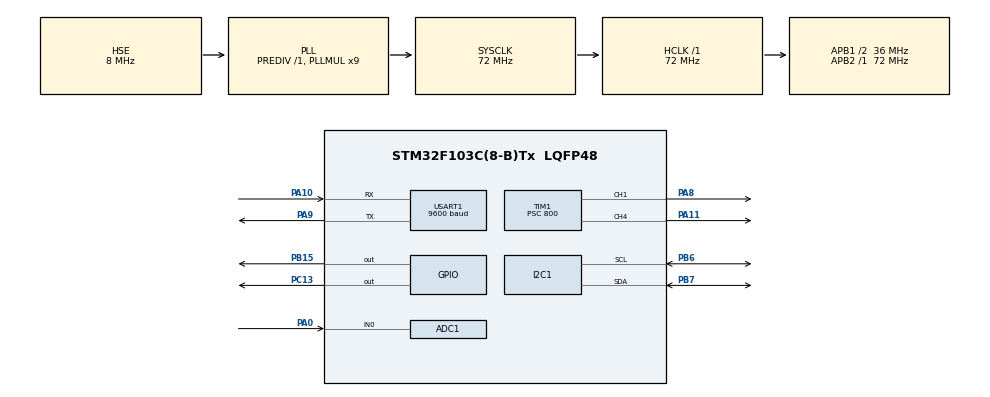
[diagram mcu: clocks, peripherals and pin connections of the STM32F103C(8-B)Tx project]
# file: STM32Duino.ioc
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ADC1.Channel-1\#ChannelRegularConversion=ADC_CHANNEL_0
ADC1.NbrOfConversionFlag=1
ADC1.Rank-1\#ChannelRegularConversion=1
ADC1.SamplingTime-1\#ChannelRegularConversion=ADC_SAMPLETIME_1CYCLE_5
ADC1.master=1
Mcu.Family=STM32F1
Mcu.Name=STM32F103C(8-B)Tx
Mcu.Package=LQFP48
NVIC.PriorityGroup=NVIC_PRIORITYGROUP_4
PA0-WKUP.Signal=ADCx_IN0
PA10.Mode=Asynchronous
PA10.Signal=USART1_RX
PA11.Signal=S_TIM1_CH4
PA8.Signal=S_TIM1_CH1
PA9.Mode=Asynchronous
PA9.Signal=USART1_TX
PB15.Signal=GPIO_Output
PB6.Mode=I2C
PB6.Signal=I2C1_SCL
PB7.Mode=I2C
PB7.Signal=I2C1_SDA
PC13-TAMPER-RTC.Signal=GPIO_Output
PD0-OSC_IN.Mode=HSE-External-Oscillator
PD0-OSC_IN.Signal=RCC_OSC_IN
PD1-OSC_OUT.Mode=HSE-External-Oscillator
PD1-OSC_OUT.Signal=RCC_OSC_OUT
ProjectManager.HeapSize=0x200
ProjectManager.StackSize=0x400
ProjectManager.TargetToolchain=STM32CubeIDE
RCC.ADCPresc=RCC_ADCPCLK2_DIV8
RCC.AHBFreq_Value=72000000
RCC.APB1CLKDivider=RCC_HCLK_DIV2
RCC.APB1Freq_Value=36000000
RCC.APB1TimFreq_Value=72000000
RCC.APB2Freq_Value=72000000
RCC.APB2TimFreq_Value=72000000
RCC.HCLKFreq_Value=72000000
RCC.PLLMUL=RCC_PLL_MUL9
RCC.PLLSourceVirtual=RCC_PLLSOURCE_HSE
RCC.SYSCLKFreq_VALUE=72000000
RCC.SYSCLKSource=RCC_SYSCLKSOURCE_PLLCLK
RCC.USBFreq_Value=72000000
SH.ADCx_IN0.0=ADC1_IN0,IN0
SH.S_TIM1_CH1.0=TIM1_CH1,PWM Generation1 CH1
SH.S_TIM1_CH4.0=TIM1_CH4,PWM Generation4 CH4
TIM1.AutoReloadPreload=TIM_AUTORELOAD_PRELOAD_ENABLE
TIM1.Channel-PWM\ Generation1\ CH1=TIM_CHANNEL_1
TIM1.Channel-PWM\ Generation4\ CH4=TIM_CHANNEL_4
TIM1.ClockDivision=TIM_CLOCKDIVISION_DIV4
TIM1.OCFastMode_PWM-PWM\ Generation1\ CH1=TIM_OCFAST_ENABLE
TIM1.Period=1000
TIM1.Prescaler=800
TIM1.Pulse-PWM\ Generation1\ CH1=500
USART1.BaudRate=9600
USART1.VirtualMode=VM_ASYNC
VP_SYS_VS_ND.Mode=No_Debug
VP_TIM1_VS_ClockSourceINT.Mode=Internal
board=custom

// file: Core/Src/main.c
/* USER CODE BEGIN Header */
/**
  ******************************************************************************
  * @file           : main.c
  * @brief          : Main program body
  ******************************************************************************
  * @attention
  *
  * <h2><center>&copy; Copyright (c) 2020 STMicroelectronics.
  * All rights reserved.</center></h2>
  *
  * This software component is licensed by ST under BSD 3-Clause license,
  * the "License"; You may not use this file except in compliance with the
  * License. You may obtain a copy of the License at:
  *                        opensource.org/licenses/BSD-3-Clause
  *
  ******************************************************************************

AppData\Local\Arduino15\packages\stm32duino\tools\stm32tools\2020.4.23\win>serial_upload.bat COM43 {upload.altID} {upload.usbID}\STM32CubeIDE\workspace_1.2.0\STM32Duino\Debug\STM32Duino.bin

AppData\Local\Arduino15\packages\stm32duino\tools\stm32tools\2020.4.23/win/serial_upload.bat COM43 {upload.altID} {upload.usbID} AppData\Local\Temp\arduino_build_399097/HearthBeating.ino.bin
  */
/* USER CODE END Header */

#include "main.h"

ADC_HandleTypeDef hadc1;

I2C_HandleTypeDef hi2c1;

TIM_HandleTypeDef htim1;

UART_HandleTypeDef huart1;

void SystemClock_Config(void);
static void MX_GPIO_Init(void);
static void MX_TIM1_Init(void);
static void MX_ADC1_Init(void);
static void MX_I2C1_Init(void);
static void MX_USART1_UART_Init(void);
/* USER CODE BEGIN PFP */

void set_pwm(uint16_t value, uint32_t channel)
{
	HAL_TIM_PWM_Stop(&htim1, channel);
	  TIM_OC_InitTypeDef sConfigOC = {0};

	  sConfigOC.OCMode = TIM_OCMODE_PWM1;
	  sConfigOC.Pulse = value;
	  sConfigOC.OCPolarity = TIM_OCPOLARITY_HIGH;
	  sConfigOC.OCNPolarity = TIM_OCNPOLARITY_HIGH;
	  sConfigOC.OCFastMode = TIM_OCFAST_ENABLE;
	  sConfigOC.OCIdleState = TIM_OCIDLESTATE_RESET;
	  sConfigOC.OCNIdleState = TIM_OCNIDLESTATE_RESET;
	  if (HAL_TIM_PWM_ConfigChannel(&htim1, &sConfigOC, channel) != HAL_OK)
	  {
	    Error_Handler();
	  }
	HAL_TIM_PWM_Start(&htim1, channel);

}
/* USER CODE END PFP */

/* USER CODE BEGIN 0 */
#include "DS1307.h"
/* USER CODE END 0 */

int main(void)
{

  /* MCU Configuration--------------------------------------------------------*/

  /* Reset of all peripherals, Initializes the Flash interface and the Systick. */
  HAL_Init();

  /* Configure the system clock */
  SystemClock_Config();

  /* USER CODE BEGIN SysInit */
/*
 * Upload code via
 * ./serial_upload ttyUSB1 {upload.altID} {upload.usbID} /home/saim/Downloads/STM32Duino.bin
 *
 */
  /* USER CODE END SysInit */

  /* Initialize all configured peripherals */
  MX_GPIO_Init();
  MX_TIM1_Init();
  MX_ADC1_Init();
  MX_I2C1_Init();
  MX_USART1_UART_Init();
  /* USER CODE BEGIN 2 */

  HAL_TIM_PWM_Start(&htim1, TIM_CHANNEL_1);
  HAL_TIM_PWM_Start(&htim1, TIM_CHANNEL_4);
  uint8_t data = 'S';
  int16_t pwm = 0, pwm2 = 1000;
  uint8_t incr = 1, incr2 = 0;
  DS1307_saat_ayarla(12);
DS1307_dakika_ayarla(30);
DS1307_saniye_ayarla(30);

  /* USER CODE END 2 */

  /* Infinite loop */
  /* USER CODE BEGIN WHILE */
  uint32_t adc_value; uint16_t result;
  while (1)
  {
	  DS1307_time();

	  data = 'T';
	  HAL_UART_Transmit(&huart1, &data, 1, 100);
	  HAL_Delay(10);

	  data = saat;
	  HAL_UART_Transmit(&huart1, &data, 1, 100);
	  HAL_Delay(10);

	  data = dakika;
	 	  HAL_UART_Transmit(&huart1, &data, 1, 100);
	 	  HAL_Delay(10);

	 	 data = saniye;
	 		  HAL_UART_Transmit(&huart1, &data, 1, 100);
	 		  HAL_Delay(10);

	  HAL_GPIO_TogglePin(GPIOC, GPIO_PIN_13);
	  if(incr)
		  pwm += 200;
	  else pwm -= 200;

	  if(pwm >= 1000) {incr = 0; pwm = 1000;}
	  else if(pwm <= 0) {incr = 1; pwm = 0;}

	  if(incr2)
	  		  pwm2 += 200;
	  	  else pwm2 -= 200;

	  	  if(pwm2 >= 1000) {incr2 = 0; pwm2 = 1000;}
	  	  else if(pwm2 <= 0) {incr2 = 1; pwm2 = 0;}

	  set_pwm(pwm, TIM_CHANNEL_1);
	  set_pwm(pwm2, TIM_CHANNEL_4);

	  HAL_ADC_Start(&hadc1);
		  HAL_ADC_PollForConversion(&hadc1, 100);
		  adc_value = HAL_ADC_GetValue(&hadc1);
		  result = (adc_value*5.0)/4095*100;
		  data = '-';
		  HAL_UART_Transmit(&huart1, &data, 1, 100);
		  HAL_Delay(50);
		  data = result >> 8;
		  HAL_UART_Transmit(&huart1, &data, 1, 100);
		  data = result & 0xff;
		  HAL_Delay(50);
		  HAL_UART_Transmit(&huart1, &data, 1, 100);

	  HAL_Delay(1000);
    /* USER CODE END WHILE */

  }
}

void SystemClock_Config(void)
{
  RCC_OscInitTypeDef RCC_OscInitStruct = {0};
  RCC_ClkInitTypeDef RCC_ClkInitStruct = {0};
  RCC_PeriphCLKInitTypeDef PeriphClkInit = {0};

  /** Initializes the CPU, AHB and APB busses clocks
  */
  RCC_OscInitStruct.OscillatorType = RCC_OSCILLATORTYPE_HSE;
  RCC_OscInitStruct.HSEState = RCC_HSE_ON;
  RCC_OscInitStruct.HSEPredivValue = RCC_HSE_PREDIV_DIV1;
  RCC_OscInitStruct.HSIState = RCC_HSI_ON;
  RCC_OscInitStruct.PLL.PLLState = RCC_PLL_ON;
  RCC_OscInitStruct.PLL.PLLSource = RCC_PLLSOURCE_HSE;
  RCC_OscInitStruct.PLL.PLLMUL = RCC_PLL_MUL9;
  if (HAL_RCC_OscConfig(&RCC_OscInitStruct) != HAL_OK)
  {
    Error_Handler();
  }
  /** Initializes the CPU, AHB and APB busses clocks
  */
  RCC_ClkInitStruct.ClockType = RCC_CLOCKTYPE_HCLK|RCC_CLOCKTYPE_SYSCLK
                              |RCC_CLOCKTYPE_PCLK1|RCC_CLOCKTYPE_PCLK2;
  RCC_ClkInitStruct.SYSCLKSource = RCC_SYSCLKSOURCE_PLLCLK;
  RCC_ClkInitStruct.AHBCLKDivider = RCC_SYSCLK_DIV1;
  RCC_ClkInitStruct.APB1CLKDivider = RCC_HCLK_DIV2;
  RCC_ClkInitStruct.APB2CLKDivider = RCC_HCLK_DIV1;

  if (HAL_RCC_ClockConfig(&RCC_ClkInitStruct, FLASH_LATENCY_2) != HAL_OK)
  {
    Error_Handler();
  }
  PeriphClkInit.PeriphClockSelection = RCC_PERIPHCLK_ADC;
  PeriphClkInit.AdcClockSelection = RCC_ADCPCLK2_DIV8;
  if (HAL_RCCEx_PeriphCLKConfig(&PeriphClkInit) != HAL_OK)
  {
    Error_Handler();
  }
}

static void MX_ADC1_Init(void)
{

  ADC_ChannelConfTypeDef sConfig = {0};

  /** Common config
  */
  hadc1.Instance = ADC1;
  hadc1.Init.ScanConvMode = ADC_SCAN_DISABLE;
  hadc1.Init.ContinuousConvMode = DISABLE;
  hadc1.Init.DiscontinuousConvMode = DISABLE;
  hadc1.Init.ExternalTrigConv = ADC_SOFTWARE_START;
  hadc1.Init.DataAlign = ADC_DATAALIGN_RIGHT;
  hadc1.Init.NbrOfConversion = 1;
  if (HAL_ADC_Init(&hadc1) != HAL_OK)
  {
    Error_Handler();
  }
  /** Configure Regular Channel
  */
  sConfig.Channel = ADC_CHANNEL_0;
  sConfig.Rank = ADC_REGULAR_RANK_1;
  sConfig.SamplingTime = ADC_SAMPLETIME_1CYCLE_5;
  if (HAL_ADC_ConfigChannel(&hadc1, &sConfig) != HAL_OK)
  {
    Error_Handler();
  }

}

static void MX_I2C1_Init(void)
{

  hi2c1.Instance = I2C1;
  hi2c1.Init.ClockSpeed = 100000;
  hi2c1.Init.DutyCycle = I2C_DUTYCYCLE_2;
  hi2c1.Init.OwnAddress1 = 0;
  hi2c1.Init.AddressingMode = I2C_ADDRESSINGMODE_7BIT;
  hi2c1.Init.DualAddressMode = I2C_DUALADDRESS_DISABLE;
  hi2c1.Init.OwnAddress2 = 0;
  hi2c1.Init.GeneralCallMode = I2C_GENERALCALL_DISABLE;
  hi2c1.Init.NoStretchMode = I2C_NOSTRETCH_DISABLE;
  if (HAL_I2C_Init(&hi2c1) != HAL_OK)
  {
    Error_Handler();
  }

}

static void MX_TIM1_Init(void)
{

  TIM_ClockConfigTypeDef sClockSourceConfig = {0};
  TIM_MasterConfigTypeDef sMasterConfig = {0};
  TIM_OC_InitTypeDef sConfigOC = {0};
  TIM_BreakDeadTimeConfigTypeDef sBreakDeadTimeConfig = {0};

  htim1.Instance = TIM1;
  htim1.Init.Prescaler = 800;
  htim1.Init.CounterMode = TIM_COUNTERMODE_UP;
  htim1.Init.Period = 1000;
  htim1.Init.ClockDivision = TIM_CLOCKDIVISION_DIV4;
  htim1.Init.RepetitionCounter = 0;
  htim1.Init.AutoReloadPreload = TIM_AUTORELOAD_PRELOAD_ENABLE;
  if (HAL_TIM_Base_Init(&htim1) != HAL_OK)
  {
    Error_Handler();
  }
  sClockSourceConfig.ClockSource = TIM_CLOCKSOURCE_INTERNAL;
  if (HAL_TIM_ConfigClockSource(&htim1, &sClockSourceConfig) != HAL_OK)
  {
    Error_Handler();
  }
  if (HAL_TIM_PWM_Init(&htim1) != HAL_OK)
  {
    Error_Handler();
  }
  sMasterConfig.MasterOutputTrigger = TIM_TRGO_RESET;
  sMasterConfig.MasterSlaveMode = TIM_MASTERSLAVEMODE_DISABLE;
  if (HAL_TIMEx_MasterConfigSynchronization(&htim1, &sMasterConfig) != HAL_OK)
  {
    Error_Handler();
  }
  sConfigOC.OCMode = TIM_OCMODE_PWM1;
  sConfigOC.Pulse = 500;
  sConfigOC.OCPolarity = TIM_OCPOLARITY_HIGH;
  sConfigOC.OCNPolarity = TIM_OCNPOLARITY_HIGH;
  sConfigOC.OCFastMode = TIM_OCFAST_ENABLE;
  sConfigOC.OCIdleState = TIM_OCIDLESTATE_RESET;
  sConfigOC.OCNIdleState = TIM_OCNIDLESTATE_RESET;
  if (HAL_TIM_PWM_ConfigChannel(&htim1, &sConfigOC, TIM_CHANNEL_1) != HAL_OK)
  {
    Error_Handler();
  }
  sConfigOC.Pulse = 0;
  sConfigOC.OCFastMode = TIM_OCFAST_DISABLE;
  if (HAL_TIM_PWM_ConfigChannel(&htim1, &sConfigOC, TIM_CHANNEL_4) != HAL_OK)
  {
    Error_Handler();
  }
  sBreakDeadTimeConfig.OffStateRunMode = TIM_OSSR_DISABLE;
  sBreakDeadTimeConfig.OffStateIDLEMode = TIM_OSSI_DISABLE;
  sBreakDeadTimeConfig.LockLevel = TIM_LOCKLEVEL_OFF;
  sBreakDeadTimeConfig.DeadTime = 0;
  sBreakDeadTimeConfig.BreakState = TIM_BREAK_DISABLE;
  sBreakDeadTimeConfig.BreakPolarity = TIM_BREAKPOLARITY_HIGH;
  sBreakDeadTimeConfig.AutomaticOutput = TIM_AUTOMATICOUTPUT_DISABLE;
  if (HAL_TIMEx_ConfigBreakDeadTime(&htim1, &sBreakDeadTimeConfig) != HAL_OK)
  {
    Error_Handler();
  }
  HAL_TIM_MspPostInit(&htim1);

}

static void MX_USART1_UART_Init(void)
{

  huart1.Instance = USART1;
  huart1.Init.BaudRate = 9600;
  huart1.Init.WordLength = UART_WORDLENGTH_8B;
  huart1.Init.StopBits = UART_STOPBITS_1;
  huart1.Init.Parity = UART_PARITY_NONE;
  huart1.Init.Mode = UART_MODE_TX_RX;
  huart1.Init.HwFlowCtl = UART_HWCONTROL_NONE;
  huart1.Init.OverSampling = UART_OVERSAMPLING_16;
  if (HAL_UART_Init(&huart1) != HAL_OK)
  {
    Error_Handler();
  }

}

static void MX_GPIO_Init(void)
{
  GPIO_InitTypeDef GPIO_InitStruct = {0};

  /* GPIO Ports Clock Enable */
  __HAL_RCC_GPIOC_CLK_ENABLE();
  __HAL_RCC_GPIOD_CLK_ENABLE();
  __HAL_RCC_GPIOA_CLK_ENABLE();
  __HAL_RCC_GPIOB_CLK_ENABLE();

  /*Configure GPIO pin Output Level */
  HAL_GPIO_WritePin(GPIOC, GPIO_PIN_13, GPIO_PIN_RESET);

  /*Configure GPIO pin Output Level */
  HAL_GPIO_WritePin(GPIOB, GPIO_PIN_15, GPIO_PIN_RESET);

  /*Configure GPIO pin : PC13 */
  GPIO_InitStruct.Pin = GPIO_PIN_13;
  GPIO_InitStruct.Mode = GPIO_MODE_OUTPUT_PP;
  GPIO_InitStruct.Pull = GPIO_NOPULL;
  GPIO_InitStruct.Speed = GPIO_SPEED_FREQ_LOW;
  HAL_GPIO_Init(GPIOC, &GPIO_InitStruct);

  /*Configure GPIO pin : PB15 */
  GPIO_InitStruct.Pin = GPIO_PIN_15;
  GPIO_InitStruct.Mode = GPIO_MODE_OUTPUT_PP;
  GPIO_InitStruct.Pull = GPIO_NOPULL;
  GPIO_InitStruct.Speed = GPIO_SPEED_FREQ_LOW;
  HAL_GPIO_Init(GPIOB, &GPIO_InitStruct);

}

void Error_Handler(void)
{
}

/************************ (C) COPYRIGHT STMicroelectronics *****END OF FILE****/
